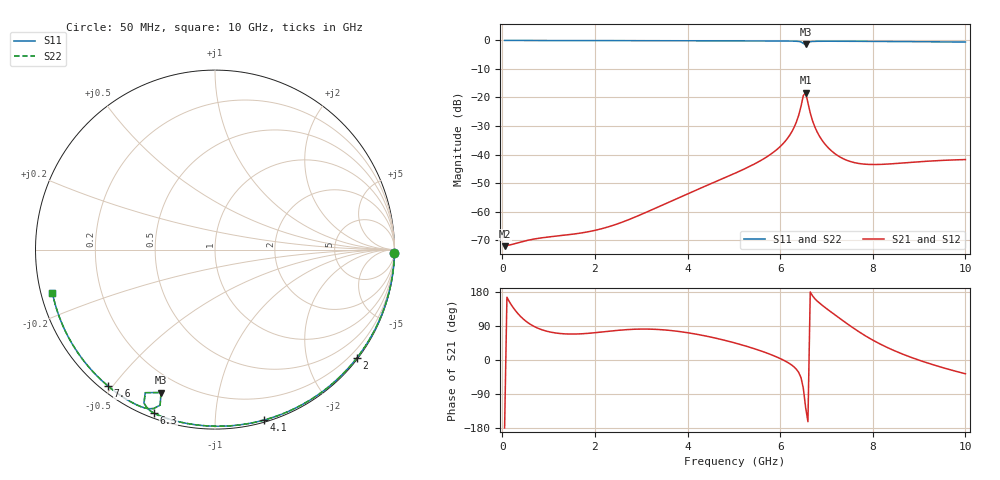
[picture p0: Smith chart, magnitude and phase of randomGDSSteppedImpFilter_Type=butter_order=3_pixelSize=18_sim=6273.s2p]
! freq	dB(S11)	phase(S11)	dB(S12)	phase(S12)
!  dB(S21)	phase(S21)	dB(S22)	phase(S22)
!S-par simulation data
#  GHz  S  DB  R 50
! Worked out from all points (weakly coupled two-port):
!   200 points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, 50 MHz to 10 GHz, reference 50 ohm
!   highest |S21| = -18.29 dB at 6.55 GHz (marker M1); lowest = -72.1 dB at 50 MHz (marker M2)
!   lowest |S11| = -1.4 dB at 6.55 GHz (marker M3), VSWR 12.43, Z = 5.93 - j34.2 ohm
!   |S11| at or under -10 dB: nowhere
!   |S22| runs from -1.4 to 0.0 dB; largest |S21 - S12| = 0
!   S11 on the Smith chart (normalised r, x): 50 MHz: open; 2 GHz: 0.03, -2.97; 4.1 GHz: 0.02, -1.33; 6.3 GHz: 0.02, -0.69; 7.6 GHz: 0.02, -0.49; 10 GHz: 0.03, -0.13
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0.05  -0.00 -1.0  -72.14 -179.3  -72.14 -179.3  -0.00 -1.0
0.7  -0.01 -13.2  -69.60 87.7  -69.60 87.7  -0.01 -13.2
1.75  -0.04 -32.7  -67.40 69.4  -67.40 69.4  -0.04 -32.7
2  -0.05 -37.2  -66.60 72.0  -66.60 72.0  -0.05 -37.2
2.6  -0.06 -48.0  -63.66 79.4  -63.66 79.4  -0.06 -48.0
3.4  -0.08 -62.0  -58.14 80.3  -58.14 80.3  -0.08 -62.0
4.1  -0.10 -73.8  -53.08 70.0  -53.08 70.0  -0.10 -73.8
5.05  -0.14 -89.4  -46.39 44.1  -46.39 44.1  -0.14 -89.4
5.9  -0.18 -103.2  -38.64 9.3  -38.64 9.3  -0.18 -103.2
6.15  -0.20 -107.5  -34.52 -5.5  -34.52 -5.5  -0.20 -107.5
6.3  -0.24 -110.5  -30.53 -18.3  -30.53 -18.3  -0.24 -110.5
6.4  -0.34 -113.1  -26.25 -32.8  -26.25 -32.8  -0.34 -113.0
6.5  -1.04 -116.0  -19.35 -74.2  -19.35 -74.2  -1.04 -116.0
6.55  -1.40 -110.7  -18.29 -125.3  -18.29 -125.3  -1.40 -110.7
6.6  -0.74 -109.4  -21.88 -162.7  -21.88 -162.7  -0.73 -109.4
6.7  -0.36 -112.5  -28.19 169.1  -28.19 169.1  -0.36 -112.5
6.85  -0.28 -115.8  -33.61 150.2  -33.61 150.2  -0.28 -115.8
7.05  -0.27 -119.3  -37.83 131.1  -37.83 131.1  -0.27 -119.3
7.3  -0.28 -123.3  -40.94 108.6  -40.94 108.6  -0.28 -123.3
7.6  -0.30 -128.0  -42.83 82.7  -42.83 82.7  -0.30 -128.0
8.35  -0.37 -139.5  -43.32 30.9  -43.32 30.9  -0.37 -139.5
10  -0.56 -165.1  -41.77 -36.3  -41.77 -36.3  -0.56 -165.1
